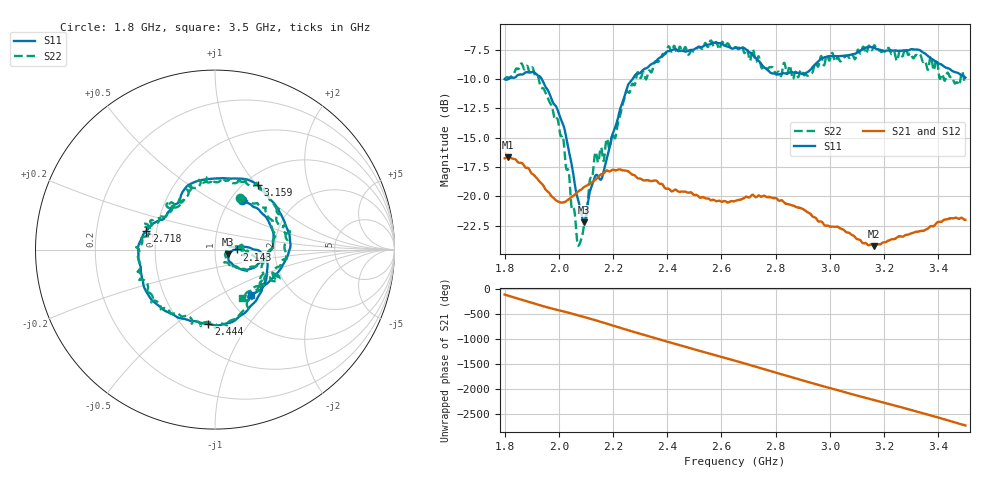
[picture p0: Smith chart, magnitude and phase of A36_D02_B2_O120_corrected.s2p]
! Created with skrf 1.9.0 (http://scikit-rf.org).
# Hz S RI R 50.0
!freq ReS11 ImS11 ReS21 ImS21 ReS12 ImS12 ReS22 ImS22
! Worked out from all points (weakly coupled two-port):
!   1601 points, 1.8 GHz to 3.5 GHz, reference 50 ohm
!   highest |S21| = -16.68 dB at 1.814 GHz (marker M1); lowest = -24.2 dB at 3.163 GHz (marker M2)
!   lowest |S11| = -22.2 dB at 2.092 GHz (marker M3), VSWR 1.17, Z = 57.8 - j3.09 ohm
!   |S11| at or under -10 dB: start of sweep to 1.814 GHz; 1.937 GHz to 2.273 GHz (336 MHz wide, 16 % of centre)
!   |S22| runs from -24.2 to -6.7 dB; largest |S21 - S12| = 0.0025
!   S11 on the Smith chart (normalised r, x): 1.8 GHz: 1.12, +0.69; 2.143 GHz: 1.28, +0.00; 2.444 GHz: 0.66, -0.66; 2.718 GHz: 0.44, +0.11; 3.159 GHz: 1.14, +1.01; 3.5 GHz: 1.27, -0.71
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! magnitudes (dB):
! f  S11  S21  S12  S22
! 1.8 GHz  -10.0  -16.8  -16.8  -10.0
! 1.814 GHz  -10.0  -16.7  -16.7  -9.9
! 1.902 GHz  -9.4  -18.1  -18.1  -9.0
! 1.967 GHz  -11.3  -19.8  -19.8  -12.0
! 2.02 GHz  -14.2  -20.5  -20.5  -15.8
! 2.07 GHz  -20.2  -19.6  -19.6  -24.1
! 2.084 GHz  -21.6  -19.4  -19.4  -23.6
! 2.092 GHz  -22.2  -19.2  -19.3  -22.6
! 2.143 GHz  -18.2  -18.4  -18.4  -17.0
! 2.161 GHz  -18.3  -18.1  -18.0  -16.6
! 2.209 GHz  -14.1  -17.8  -17.7  -15.0
! 2.258 GHz  -10.4  -17.9  -17.9  -11.2
! 2.367 GHz  -8.3  -18.9  -18.8  -8.5
! 2.444 GHz  -7.6  -19.6  -19.6  -7.4
! 2.65 GHz  -7.4  -20.4  -20.4  -7.3
! 2.718 GHz  -8.0  -19.9  -19.8  -7.6
! 2.789 GHz  -9.5  -20.1  -20.1  -9.0
! 2.934 GHz  -9.1  -21.7  -21.6  -9.5
! 3.159 GHz  -7.3  -24.2  -24.1  -7.4
! 3.163 GHz  -7.3  -24.2  -24.2  -7.2
! 3.217 GHz  -7.6  -23.8  -23.7  -7.4
! 3.5 GHz  -9.9  -22.0  -22.0  -10.2
